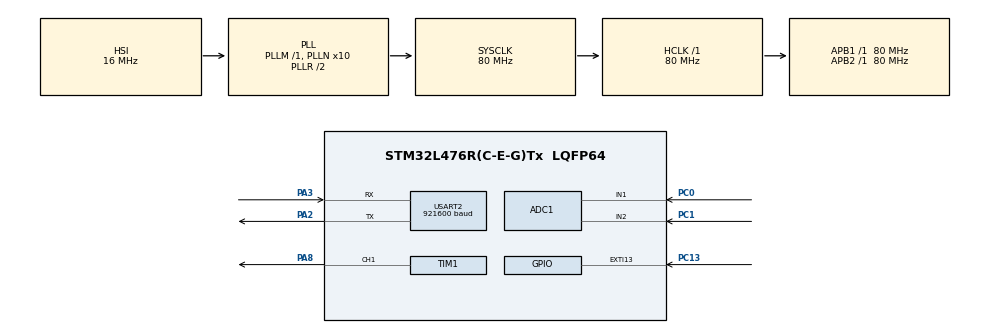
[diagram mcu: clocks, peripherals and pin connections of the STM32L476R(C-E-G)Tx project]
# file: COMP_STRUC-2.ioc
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ADC1.Channel-0\#ChannelRegularConversion=ADC_CHANNEL_1
ADC1.Channel-1\#ChannelRegularConversion=ADC_CHANNEL_2
ADC1.ContinuousConvMode=ENABLE
ADC1.NbrOfConversion=2
ADC1.NbrOfConversionFlag=1
ADC1.OffsetNumber-0\#ChannelRegularConversion=ADC_OFFSET_NONE
ADC1.OffsetNumber-1\#ChannelRegularConversion=ADC_OFFSET_NONE
ADC1.Rank-0\#ChannelRegularConversion=1
ADC1.Rank-1\#ChannelRegularConversion=2
ADC1.SamplingTime-0\#ChannelRegularConversion=ADC_SAMPLETIME_2CYCLES_5
ADC1.SamplingTime-1\#ChannelRegularConversion=ADC_SAMPLETIME_2CYCLES_5
ADC1.master=1
Dma.Request0=USART2_TX
Dma.USART2_TX.0.Direction=DMA_MEMORY_TO_PERIPH
Dma.USART2_TX.0.Instance=DMA1_Channel7
Dma.USART2_TX.0.MemDataAlignment=DMA_MDATAALIGN_BYTE
Dma.USART2_TX.0.MemInc=DMA_MINC_ENABLE
Dma.USART2_TX.0.Mode=DMA_NORMAL
Dma.USART2_TX.0.PeriphDataAlignment=DMA_PDATAALIGN_BYTE
Dma.USART2_TX.0.PeriphInc=DMA_PINC_DISABLE
Dma.USART2_TX.0.Priority=DMA_PRIORITY_MEDIUM
Mcu.Family=STM32L4
Mcu.Name=STM32L476R(C-E-G)Tx
Mcu.Package=LQFP64
NVIC.DMA1_Channel7_IRQn=true\:0\:0\:false\:false\:true\:false\:true\:true
NVIC.PriorityGroup=NVIC_PRIORITYGROUP_4
NVIC.TIM7_IRQn=true\:0\:0\:false\:false\:true\:true\:true\:true
NVIC.USART2_IRQn=true\:0\:0\:false\:false\:true\:true\:true\:true
PA2.Mode=Asynchronous
PA2.Signal=USART2_TX
PA3.Mode=Asynchronous
PA3.Signal=USART2_RX
PA8.Signal=S_TIM1_CH1
PC0.Signal=ADCx_IN1
PC1.Signal=ADCx_IN2
PC13.Signal=GPXTI13
PH0-OSC_IN\ (PH0).Mode=HSE-External-Oscillator
PH0-OSC_IN\ (PH0).Signal=RCC_OSC_IN
PH1-OSC_OUT\ (PH1).Mode=HSE-External-Oscillator
PH1-OSC_OUT\ (PH1).Signal=RCC_OSC_OUT
ProjectManager.HeapSize=0x200
ProjectManager.StackSize=0x400
ProjectManager.TargetToolchain=STM32CubeIDE
RCC.ADCFreq_Value=64000000
RCC.AHBFreq_Value=80000000
RCC.APB1Freq_Value=80000000
RCC.APB1TimFreq_Value=80000000
RCC.APB2Freq_Value=80000000
RCC.APB2TimFreq_Value=80000000
RCC.CortexFreq_Value=80000000
RCC.HCLKFreq_Value=80000000
RCC.HSE_VALUE=8000000
RCC.HSI_VALUE=16000000
RCC.LSE_VALUE=32768
RCC.MSI_VALUE=4000000
RCC.PLLN=10
RCC.PLLSourceVirtual=RCC_PLLSOURCE_HSI
RCC.PREFETCH_ENABLE=1
RCC.SYSCLKFreq_VALUE=80000000
RCC.SYSCLKSource=RCC_SYSCLKSOURCE_PLLCLK
RCC.USBFreq_Value=64000000
RCC.VCOOutputFreq_Value=160000000
SH.ADCx_IN1.0=ADC1_IN1,IN1-Single-Ended
SH.ADCx_IN2.0=ADC1_IN2,IN2-Single-Ended
SH.S_TIM1_CH1.0=TIM1_CH1,PWM Generation1 CH1
TIM1.Channel-PWM\ Generation1\ CH1=TIM_CHANNEL_1
TIM1.Period=100-1
TIM1.Prescaler=8001
TIM7.Period=10000-1
TIM7.Prescaler=8000-1
USART2.BaudRate=921600
USART2.VirtualMode-Asynchronous=VM_ASYNC
VP_TIM1_VS_ClockSourceINT.Mode=Internal
VP_TIM7_VS_ClockSourceINT.Mode=Enable_Timer
board=NUCLEO-L476RG

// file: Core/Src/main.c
/* USER CODE BEGIN Header */
/**
  ******************************************************************************
  * @file           : main.c
  * @brief          : Main program body
  ******************************************************************************
  * @attention
  *
  * Copyright (c) 2023 STMicroelectronics.
  * All rights reserved.
  *
  * This software is licensed under terms that can be found in the LICENSE file
  * in the root directory of this software component.
  * If no LICENSE file comes with this software, it is provided AS-IS.
  *
  ******************************************************************************
  */
/* USER CODE END Header */
#include "main.h"

/* USER CODE BEGIN Includes */
#include "stdio.h"
/* USER CODE END Includes */

ADC_HandleTypeDef hadc1;

TIM_HandleTypeDef htim1;
TIM_HandleTypeDef htim7;

UART_HandleTypeDef huart2;
DMA_HandleTypeDef hdma_usart2_tx;

void SystemClock_Config(void);
static void MX_GPIO_Init(void);
static void MX_DMA_Init(void);
static void MX_USART2_UART_Init(void);
static void MX_TIM7_Init(void);
static void MX_TIM1_Init(void);
static void MX_ADC1_Init(void);
/* USER CODE BEGIN PFP */

uint8_t Rx_data[4];

uint8_t Tx_busy = 0;

/* USER CODE END PFP */

/* USER CODE BEGIN 0 */
int _write(int file, char *ptr, int len)
{
	while (Tx_busy != 0) {/* Wait */}
  HAL_UART_Transmit_DMA(&huart2, (uint8_t *)ptr, len);
  Tx_busy = 1;
  return len;
}
void HAL_UART_RxCpltCallback(UART_HandleTypeDef *huart)
{
	printf("Received: [%s]\r\n", Rx_data);
	HAL_UART_Receive_IT(&huart2, Rx_data, 1);
}

void HAL_UART_TxCpltCallback(UART_HandleTypeDef *huart)
{
	Tx_busy = 0;
}

void HAL_TIM_PeriodElapsedCallback(TIM_HandleTypeDef *htim)
{
	static uint32_t counter = 0;
	printf("Counter: %ld\r\n",counter++);
}

/* USER CODE END 0 */

int main(void)
{

  /* MCU Configuration--------------------------------------------------------*/

  /* Reset of all peripherals, Initializes the Flash interface and the Systick. */
  HAL_Init();

  /* Configure the system clock */
  SystemClock_Config();

  /* Initialize all configured peripherals */
  MX_GPIO_Init();
  MX_DMA_Init();
  MX_USART2_UART_Init();
  MX_TIM7_Init();
  MX_TIM1_Init();
  MX_ADC1_Init();

  /* USER CODE BEGIN 2 */
  HAL_UART_Receive_IT(&huart2, Rx_data, 4);

  HAL_TIM_Base_Start_IT(&htim7);

  TIM1->CCR1 = 50;
  HAL_TIM_PWM_Start(&htim1, TIM_CHANNEL_1);

  /* USER CODE END 2 */

  /* Infinite loop */
  /* USER CODE BEGIN WHILE */
 // printf("Hello World! /r/n");

 for(uint8_t idx = 0; idx <0x0F;idx++)
	  printf("IDX: 0x%02X\r\n",idx);

  while (1)
  {
    /* USER CODE END WHILE */
	 HAL_ADC_Start(&hadc1);
	 HAL_ADC_PollForConversion(&hadc1, 10);
	 uint16_t adc_value = HAL_ADC_GetValue(&hadc1);
	 HAL_ADC_PollForConversion(&hadc1, 10);
	 uint16_t adc_value2 = HAL_ADC_GetValue(&hadc1);
	 float adc_voltage = (adc_value/4096.0 * 5.5);
	 float adc_voltage2 = (adc_value2/4096.0 * 5.5);
	 printf("ADC Reading %f,  %f\r\n", adc_voltage, adc_voltage2);
	 HAL_Delay(100);

  }
}

void SystemClock_Config(void)
{
  RCC_OscInitTypeDef RCC_OscInitStruct = {0};
  RCC_ClkInitTypeDef RCC_ClkInitStruct = {0};

  /** Configure the main internal regulator output voltage
  */
  if (HAL_PWREx_ControlVoltageScaling(PWR_REGULATOR_VOLTAGE_SCALE1) != HAL_OK)
  {
    Error_Handler();
  }

  /** Initializes the RCC Oscillators according to the specified parameters
  * in the RCC_OscInitTypeDef structure.
  */
  RCC_OscInitStruct.OscillatorType = RCC_OSCILLATORTYPE_HSI;
  RCC_OscInitStruct.HSIState = RCC_HSI_ON;
  RCC_OscInitStruct.HSICalibrationValue = RCC_HSICALIBRATION_DEFAULT;
  RCC_OscInitStruct.PLL.PLLState = RCC_PLL_ON;
  RCC_OscInitStruct.PLL.PLLSource = RCC_PLLSOURCE_HSI;
  RCC_OscInitStruct.PLL.PLLM = 1;
  RCC_OscInitStruct.PLL.PLLN = 10;
  RCC_OscInitStruct.PLL.PLLP = RCC_PLLP_DIV7;
  RCC_OscInitStruct.PLL.PLLQ = RCC_PLLQ_DIV2;
  RCC_OscInitStruct.PLL.PLLR = RCC_PLLR_DIV2;
  if (HAL_RCC_OscConfig(&RCC_OscInitStruct) != HAL_OK)
  {
    Error_Handler();
  }

  /** Initializes the CPU, AHB and APB buses clocks
  */
  RCC_ClkInitStruct.ClockType = RCC_CLOCKTYPE_HCLK|RCC_CLOCKTYPE_SYSCLK
                              |RCC_CLOCKTYPE_PCLK1|RCC_CLOCKTYPE_PCLK2;
  RCC_ClkInitStruct.SYSCLKSource = RCC_SYSCLKSOURCE_PLLCLK;
  RCC_ClkInitStruct.AHBCLKDivider = RCC_SYSCLK_DIV1;
  RCC_ClkInitStruct.APB1CLKDivider = RCC_HCLK_DIV1;
  RCC_ClkInitStruct.APB2CLKDivider = RCC_HCLK_DIV1;

  if (HAL_RCC_ClockConfig(&RCC_ClkInitStruct, FLASH_LATENCY_4) != HAL_OK)
  {
    Error_Handler();
  }
}

static void MX_ADC1_Init(void)
{

  ADC_MultiModeTypeDef multimode = {0};
  ADC_ChannelConfTypeDef sConfig = {0};

  /** Common config
  */
  hadc1.Instance = ADC1;
  hadc1.Init.ClockPrescaler = ADC_CLOCK_ASYNC_DIV1;
  hadc1.Init.Resolution = ADC_RESOLUTION_12B;
  hadc1.Init.DataAlign = ADC_DATAALIGN_RIGHT;
  hadc1.Init.ScanConvMode = ADC_SCAN_ENABLE;
  hadc1.Init.EOCSelection = ADC_EOC_SINGLE_CONV;
  hadc1.Init.LowPowerAutoWait = DISABLE;
  hadc1.Init.ContinuousConvMode = ENABLE;
  hadc1.Init.NbrOfConversion = 2;
  hadc1.Init.DiscontinuousConvMode = DISABLE;
  hadc1.Init.ExternalTrigConv = ADC_SOFTWARE_START;
  hadc1.Init.ExternalTrigConvEdge = ADC_EXTERNALTRIGCONVEDGE_NONE;
  hadc1.Init.DMAContinuousRequests = DISABLE;
  hadc1.Init.Overrun = ADC_OVR_DATA_PRESERVED;
  hadc1.Init.OversamplingMode = DISABLE;
  if (HAL_ADC_Init(&hadc1) != HAL_OK)
  {
    Error_Handler();
  }

  /** Configure the ADC multi-mode
  */
  multimode.Mode = ADC_MODE_INDEPENDENT;
  if (HAL_ADCEx_MultiModeConfigChannel(&hadc1, &multimode) != HAL_OK)
  {
    Error_Handler();
  }

  /** Configure Regular Channel
  */
  sConfig.Channel = ADC_CHANNEL_1;
  sConfig.Rank = ADC_REGULAR_RANK_1;
  sConfig.SamplingTime = ADC_SAMPLETIME_2CYCLES_5;
  sConfig.SingleDiff = ADC_SINGLE_ENDED;
  sConfig.OffsetNumber = ADC_OFFSET_NONE;
  sConfig.Offset = 0;
  if (HAL_ADC_ConfigChannel(&hadc1, &sConfig) != HAL_OK)
  {
    Error_Handler();
  }

  /** Configure Regular Channel
  */
  sConfig.Channel = ADC_CHANNEL_2;
  sConfig.Rank = ADC_REGULAR_RANK_2;
  if (HAL_ADC_ConfigChannel(&hadc1, &sConfig) != HAL_OK)
  {
    Error_Handler();
  }

}

static void MX_TIM1_Init(void)
{

  TIM_ClockConfigTypeDef sClockSourceConfig = {0};
  TIM_MasterConfigTypeDef sMasterConfig = {0};
  TIM_OC_InitTypeDef sConfigOC = {0};
  TIM_BreakDeadTimeConfigTypeDef sBreakDeadTimeConfig = {0};

  htim1.Instance = TIM1;
  htim1.Init.Prescaler = 8001;
  htim1.Init.CounterMode = TIM_COUNTERMODE_UP;
  htim1.Init.Period = 100-1;
  htim1.Init.ClockDivision = TIM_CLOCKDIVISION_DIV1;
  htim1.Init.RepetitionCounter = 0;
  htim1.Init.AutoReloadPreload = TIM_AUTORELOAD_PRELOAD_DISABLE;
  if (HAL_TIM_Base_Init(&htim1) != HAL_OK)
  {
    Error_Handler();
  }
  sClockSourceConfig.ClockSource = TIM_CLOCKSOURCE_INTERNAL;
  if (HAL_TIM_ConfigClockSource(&htim1, &sClockSourceConfig) != HAL_OK)
  {
    Error_Handler();
  }
  if (HAL_TIM_PWM_Init(&htim1) != HAL_OK)
  {
    Error_Handler();
  }
  sMasterConfig.MasterOutputTrigger = TIM_TRGO_RESET;
  sMasterConfig.MasterOutputTrigger2 = TIM_TRGO2_RESET;
  sMasterConfig.MasterSlaveMode = TIM_MASTERSLAVEMODE_DISABLE;
  if (HAL_TIMEx_MasterConfigSynchronization(&htim1, &sMasterConfig) != HAL_OK)
  {
    Error_Handler();
  }
  sConfigOC.OCMode = TIM_OCMODE_PWM1;
  sConfigOC.Pulse = 0;
  sConfigOC.OCPolarity = TIM_OCPOLARITY_HIGH;
  sConfigOC.OCNPolarity = TIM_OCNPOLARITY_HIGH;
  sConfigOC.OCFastMode = TIM_OCFAST_DISABLE;
  sConfigOC.OCIdleState = TIM_OCIDLESTATE_RESET;
  sConfigOC.OCNIdleState = TIM_OCNIDLESTATE_RESET;
  if (HAL_TIM_PWM_ConfigChannel(&htim1, &sConfigOC, TIM_CHANNEL_1) != HAL_OK)
  {
    Error_Handler();
  }
  sBreakDeadTimeConfig.OffStateRunMode = TIM_OSSR_DISABLE;
  sBreakDeadTimeConfig.OffStateIDLEMode = TIM_OSSI_DISABLE;
  sBreakDeadTimeConfig.LockLevel = TIM_LOCKLEVEL_OFF;
  sBreakDeadTimeConfig.DeadTime = 0;
  sBreakDeadTimeConfig.BreakState = TIM_BREAK_DISABLE;
  sBreakDeadTimeConfig.BreakPolarity = TIM_BREAKPOLARITY_HIGH;
  sBreakDeadTimeConfig.BreakFilter = 0;
  sBreakDeadTimeConfig.Break2State = TIM_BREAK2_DISABLE;
  sBreakDeadTimeConfig.Break2Polarity = TIM_BREAK2POLARITY_HIGH;
  sBreakDeadTimeConfig.Break2Filter = 0;
  sBreakDeadTimeConfig.AutomaticOutput = TIM_AUTOMATICOUTPUT_DISABLE;
  if (HAL_TIMEx_ConfigBreakDeadTime(&htim1, &sBreakDeadTimeConfig) != HAL_OK)
  {
    Error_Handler();
  }
  HAL_TIM_MspPostInit(&htim1);

}

static void MX_TIM7_Init(void)
{

  TIM_MasterConfigTypeDef sMasterConfig = {0};

  htim7.Instance = TIM7;
  htim7.Init.Prescaler = 8000-1;
  htim7.Init.CounterMode = TIM_COUNTERMODE_UP;
  htim7.Init.Period = 10000-1;
  htim7.Init.AutoReloadPreload = TIM_AUTORELOAD_PRELOAD_DISABLE;
  if (HAL_TIM_Base_Init(&htim7) != HAL_OK)
  {
    Error_Handler();
  }
  sMasterConfig.MasterOutputTrigger = TIM_TRGO_RESET;
  sMasterConfig.MasterSlaveMode = TIM_MASTERSLAVEMODE_DISABLE;
  if (HAL_TIMEx_MasterConfigSynchronization(&htim7, &sMasterConfig) != HAL_OK)
  {
    Error_Handler();
  }

}

static void MX_USART2_UART_Init(void)
{

  huart2.Instance = USART2;
  huart2.Init.BaudRate = 921600;
  huart2.Init.WordLength = UART_WORDLENGTH_8B;
  huart2.Init.StopBits = UART_STOPBITS_1;
  huart2.Init.Parity = UART_PARITY_NONE;
  huart2.Init.Mode = UART_MODE_TX_RX;
  huart2.Init.HwFlowCtl = UART_HWCONTROL_NONE;
  huart2.Init.OverSampling = UART_OVERSAMPLING_16;
  huart2.Init.OneBitSampling = UART_ONE_BIT_SAMPLE_DISABLE;
  huart2.AdvancedInit.AdvFeatureInit = UART_ADVFEATURE_NO_INIT;
  if (HAL_UART_Init(&huart2) != HAL_OK)
  {
    Error_Handler();
  }

}

static void MX_DMA_Init(void)
{

  /* DMA controller clock enable */
  __HAL_RCC_DMA1_CLK_ENABLE();

  /* DMA interrupt init */
  /* DMA1_Channel7_IRQn interrupt configuration */
  HAL_NVIC_SetPriority(DMA1_Channel7_IRQn, 0, 0);
  HAL_NVIC_EnableIRQ(DMA1_Channel7_IRQn);

}

static void MX_GPIO_Init(void)
{
  GPIO_InitTypeDef GPIO_InitStruct = {0};

  /* GPIO Ports Clock Enable */
  __HAL_RCC_GPIOC_CLK_ENABLE();
  __HAL_RCC_GPIOH_CLK_ENABLE();
  __HAL_RCC_GPIOA_CLK_ENABLE();

  /*Configure GPIO pin : PC13 */
  GPIO_InitStruct.Pin = GPIO_PIN_13;
  GPIO_InitStruct.Mode = GPIO_MODE_IT_RISING;
  GPIO_InitStruct.Pull = GPIO_NOPULL;
  HAL_GPIO_Init(GPIOC, &GPIO_InitStruct);

}

void Error_Handler(void)
{
  __disable_irq();
  while (1)
  {
  }
}
